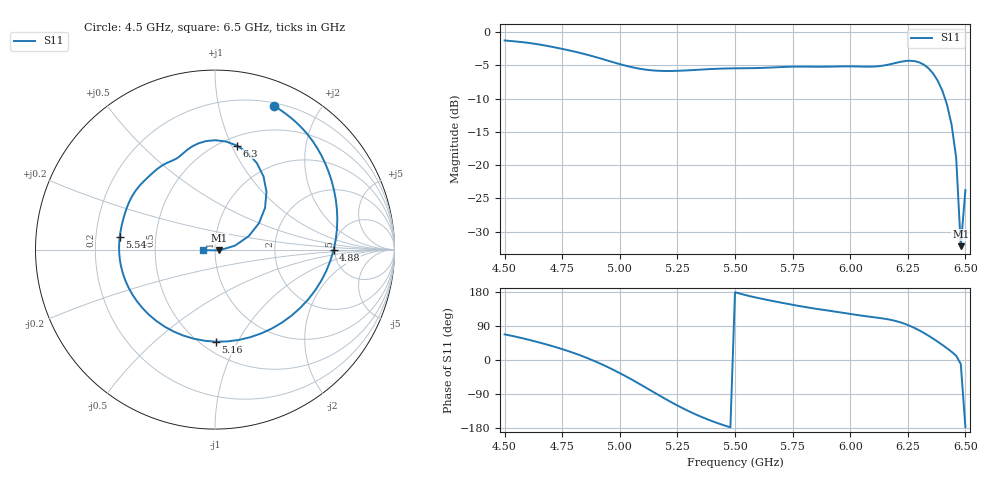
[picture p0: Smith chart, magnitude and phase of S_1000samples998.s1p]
! TOUCHSTONE file generated by CST MICROWAVE STUDIO
! Date and time: Sun Oct 30 01:12:28 2022
! Project name: L.cst
! Parameters = {Di=1.27; Epsilon_r=1.56; InnerDiameter=1.27; Length=2; Lf=10; Lg=60; OuterConductorThickness=0.2921; OuterDiameter=3.6; Wf=3; Wp=41.2; de=1.5; df=6.8; g=0.8; gx=4.71775; gy=0.619097; h=2.34; hf=1.524; px=14.0346; py=10.7788; w=9.7; wx=9.3169; wy=10.1597}
! Header version: 2018
! Port assignment regex: !\s*Touchstone port\s*([0-9]+)\s*=\s*(CST MWS port|CST DS port)\s*([0-9]+|Zmin|Zmax)\s*\(\"(.*)\"\)(\s*mode\s*([0-9]+))?.*
! Touchstone port assignment:
! Touchstone port 1 = CST MWS port 1 ("")
# GHz S DB R 50
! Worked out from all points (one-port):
!   101 points, 4.5 GHz to 6.5 GHz, reference 50 ohm
!   lowest |S11| = -32.2 dB at 6.48 GHz (marker M1), VSWR 1.05, Z = 52.5 - j0.475 ohm
!   |S11| at or under -10 dB: 6.412 GHz to end of sweep
!   S11 on the Smith chart (normalised r, x): 4.5 GHz: 0.23, +1.47; 4.88 GHz: 4.89, -0.05; 5.16 GHz: 0.59, -0.82; 5.54 GHz: 0.30, +0.06; 6.3 GHz: 0.59, +1.05; 6.5 GHz: 0.88, -0.01
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4.5  -1.25 67.6
4.62  -1.69 51.1
4.76  -2.59 26.8
4.82  -3.06 14.2
4.88  -3.60 -0.2
4.94  -4.20 -16.5
5  -4.81 -34.6
5.08  -5.46 -61.3
5.16  -5.80 -89.5
5.2  -5.84 -103.4
5.26  -5.80 -123.2
5.32  -5.70 -141.0
5.38  -5.58 -156.5
5.5  -5.44 178.8
5.54  -5.43 172.2
5.76  -5.19 144.6
6  -5.14 121.6
6.18  -4.77 105.5
6.22  -4.45 99.0
6.26  -4.30 89.9
6.3  -4.55 78.1
6.34  -5.44 64.1
6.38  -7.31 48.3
6.42  -10.87 31.0
6.44  -13.90 21.7
6.46  -18.89 11.3
6.48  -32.19 -10.6
6.5  -23.76 -177.0
